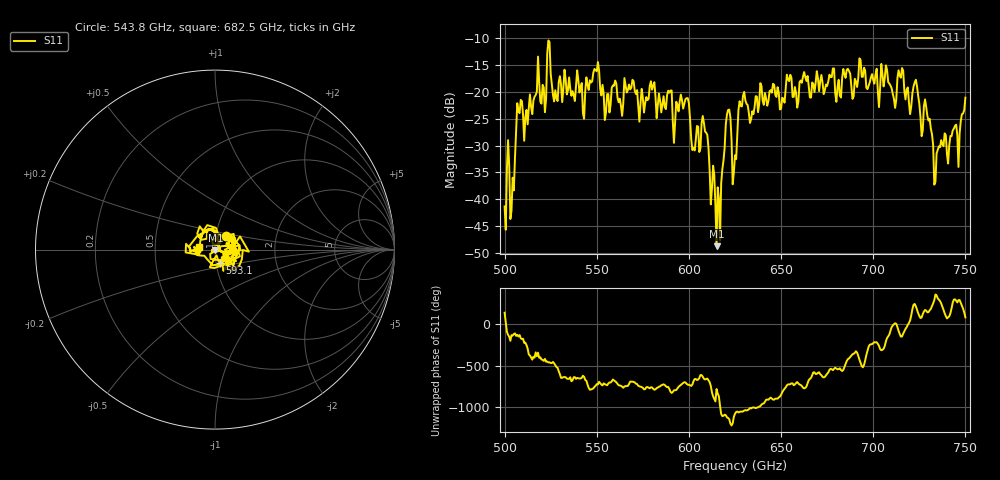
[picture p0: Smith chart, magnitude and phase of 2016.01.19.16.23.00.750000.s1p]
!Created with skrf (http://scikit-rf.org).
# GHz S RI R 50.0
!freq ReS11 ImS11
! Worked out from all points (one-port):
!   401 points, 500 GHz to 750 GHz, reference 50 ohm
!   lowest |S11| = -48.7 dB at 615 GHz (marker M1), VSWR 1.01, Z = 50.2 - j0.318 ohm
!   |S11| at or under -10 dB: start of sweep to end of sweep
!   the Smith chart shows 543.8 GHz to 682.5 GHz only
!   S11 on the Smith chart (normalised r, x): 543.8 GHz: 1.12, +0.18; 593.1 GHz: 1.04, -0.16; 682.5 GHz: 0.84, +0.03
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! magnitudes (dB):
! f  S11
! 500 GHz  -41.3
! 504.4 GHz  -36.0
! 508.1 GHz  -24.0
! 521.2 GHz  -19.2
! 524.4 GHz  -10.8
! 527.5 GHz  -19.7
! 531.2 GHz  -21.9
! 543.8 GHz  -19.9
! 550 GHz  -16.2
! 562.5 GHz  -21.3
! 580 GHz  -19.6
! 593.1 GHz  -21.9
! 593.8 GHz  -22.4
! 598.8 GHz  -21.2
! 602.5 GHz  -30.4
! 608.8 GHz  -27.4
! 615 GHz  -48.7
! 616.2 GHz  -39.9
! 621.2 GHz  -23.4
! 625 GHz  -31.8
! 628.8 GHz  -22.7
! 656.2 GHz  -21.0
! 682.5 GHz  -21.1
! 687.5 GHz  -16.7
! 718.8 GHz  -19.2
! 723.1 GHz  -17.8
! 734.4 GHz  -31.5
! 750 GHz  -21.1
